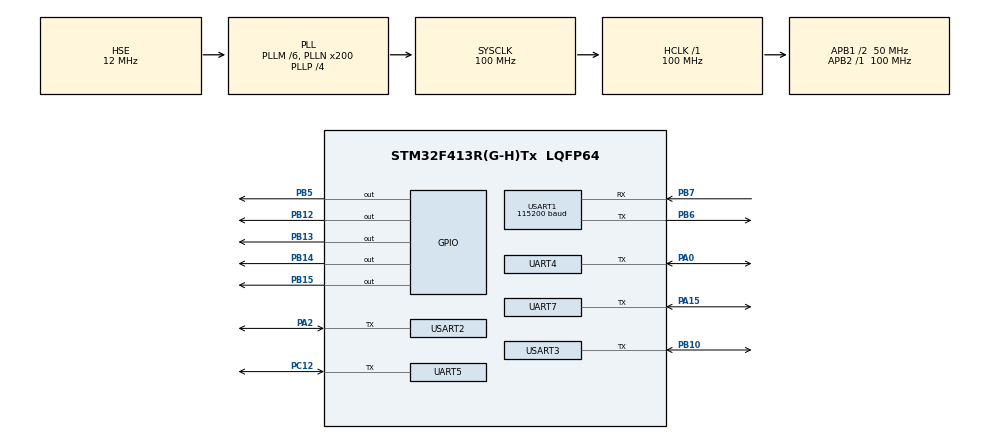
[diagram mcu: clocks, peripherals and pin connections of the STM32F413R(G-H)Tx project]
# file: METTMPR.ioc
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Mcu.Family=STM32F4
Mcu.Name=STM32F413R(G-H)Tx
Mcu.Package=LQFP64
NVIC.PriorityGroup=NVIC_PRIORITYGROUP_4
NVIC.TIM1_UP_TIM10_IRQn=true\:0\:0\:false\:false\:true\:true\:true\:true
NVIC.USART1_IRQn=true\:0\:0\:false\:false\:true\:true\:true\:true
PA0.Mode=Half_duplex(single_wire_mode)
PA0.Signal=UART4_TX
PA13.Mode=Serial_Wire
PA13.Signal=SYS_JTMS-SWDIO
PA14.Mode=Serial_Wire
PA14.Signal=SYS_JTCK-SWCLK
PA15.Mode=Half_duplex(single_wire_mode)
PA15.Signal=UART7_TX
PA2.Mode=Half_duplex(single_wire_mode)
PA2.Signal=USART2_TX
PB10.Mode=Half_duplex(single_wire_mode)
PB10.Signal=USART3_TX
PB12.PinState=GPIO_PIN_SET
PB12.Signal=GPIO_Output
PB13.PinState=GPIO_PIN_SET
PB13.Signal=GPIO_Output
PB14.PinState=GPIO_PIN_SET
PB14.Signal=GPIO_Output
PB15.PinState=GPIO_PIN_SET
PB15.Signal=GPIO_Output
PB5.PinState=GPIO_PIN_RESET
PB5.Signal=GPIO_Output
PB6.GPIO_Speed=GPIO_SPEED_FREQ_HIGH
PB6.Mode=Asynchronous
PB6.Signal=USART1_TX
PB7.GPIO_Speed=GPIO_SPEED_FREQ_HIGH
PB7.Mode=Asynchronous
PB7.Signal=USART1_RX
PC12.Mode=Half_duplex(single_wire_mode)
PC12.Signal=UART5_TX
PH0\ -\ OSC_IN.Mode=HSE-External-Oscillator
PH0\ -\ OSC_IN.Signal=RCC_OSC_IN
PH1\ -\ OSC_OUT.Mode=HSE-External-Oscillator
PH1\ -\ OSC_OUT.Signal=RCC_OSC_OUT
ProjectManager.HeapSize=0x400
ProjectManager.StackSize=0x800
ProjectManager.TargetToolchain=MDK-ARM V5.32
RCC.AHBFreq_Value=100000000
RCC.APB1CLKDivider=RCC_HCLK_DIV2
RCC.APB1Freq_Value=50000000
RCC.APB1TimFreq_Value=100000000
RCC.APB2Freq_Value=100000000
RCC.APB2TimFreq_Value=100000000
RCC.CortexFreq_Value=100000000
RCC.EnbaleCSS=true
RCC.HCLKFreq_Value=100000000
RCC.HSE_VALUE=12000000
RCC.PLLM=6
RCC.PLLN=200
RCC.PLLP=RCC_PLLP_DIV4
RCC.PLLQ=3
RCC.PLLSourceVirtual=RCC_PLLSOURCE_HSE
RCC.SYSCLKFreq_VALUE=100000000
RCC.SYSCLKSource=RCC_SYSCLKSOURCE_PLLCLK
RCC.USBFreq_Value=133333333.33333333
RCC.VCOOutputFreq_Value=400000000
TIM10.Period=1499
TIM10.Prescaler=49999
UART4.VirtualMode=Asynchronous
UART5.VirtualMode=Asynchronous
UART7.VirtualMode=Asynchronous
USART1.BaudRate=115200
USART1.VirtualMode=VM_ASYNC
USART2.VirtualMode=VM_ASYNC
USART3.VirtualMode=VM_ASYNC
VP_TIM10_VS_ClockSourceINT.Mode=Enable_Timer
board=custom

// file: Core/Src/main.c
/* USER CODE BEGIN Header */
/**
 ******************************************************************************
 * @file           : main.c
 * @brief          : Main program body
 ******************************************************************************
 * @attention
 *
 * <h2><center>&copy; Copyright (c) 2023 STMicroelectronics.
 * All rights reserved.</center></h2>
 *
 * This software component is licensed by ST under BSD 3-Clause license,
 * the "License"; You may not use this file except in compliance with the
 * License. You may obtain a copy of the License at:
 *                        opensource.org/licenses/BSD-3-Clause
 *
 ******************************************************************************
 */
/* USER CODE END Header */
#include "main.h"

/* USER CODE BEGIN Includes */
#include "ds18b20.h"
#include "ds18b20_init.h"
#include "onewire.h"
#include "string.h"
/* USER CODE END Includes */

TIM_HandleTypeDef htim10;

UART_HandleTypeDef huart4;
UART_HandleTypeDef huart5;
UART_HandleTypeDef huart7;
UART_HandleTypeDef huart1;
UART_HandleTypeDef huart2;
UART_HandleTypeDef huart3;

/* USER CODE BEGIN PV */
DS18B20 temperatureSensor[numbSensorsDS18B20] = {0};
DS18B20_Status errorDS18B20[numbSensorsDS18B20] = {0};

startByte_t startByte = {0};
uint8_t fullPacket[12] = {0xFD, 0x55, 0};
uint8_t receiveByte = {0};

uint8_t RxData[16] = {0};
int indx = 0;
uint8_t flagRxUART = 0;

flagsInterrupts_t flagsInterrupts = {0};
/* USER CODE END PV */

void SystemClock_Config(void);
static void MX_GPIO_Init(void);
static void MX_USART1_UART_Init(void);
static void MX_UART5_Init(void);
static void MX_UART7_Init(void);
static void MX_UART4_Init(void);
static void MX_USART2_UART_Init(void);
static void MX_USART3_UART_Init(void);
static void MX_TIM10_Init(void);

/* USER CODE BEGIN 0 */

void HAL_TIM_PeriodElapsedCallback(TIM_HandleTypeDef *htim)
{
  if (htim->Instance == TIM10) // check if the interrupt comes from TIM10 //750ms
  {
    // HAL_IWDG_Refresh(&hiwdg);
    HAL_TIM_Base_Stop_IT(&htim10);
    flagsInterrupts.TIM10_int = 1;
    __HAL_TIM_SET_COUNTER(&htim10, 0);
  }
}

void HAL_UARTEx_RxEventCallback(UART_HandleTypeDef *huart, uint16_t Size)
{

  uint8_t holeOp = 0;
  size_t counterTemp = 25000 * 2; // 300ms
  while (--counterTemp)
  {
    holeOp++;
  }

  indx = Size;
  if (huart->Instance == USART1) // check if the interrupt comes from
  {
    // if (memcmp(RxData, &fullPacket[0], Size))
    // {
    // }

    flagRxUART = 1;

    if (memcmp(RxData, &fullPacket[0], sizeof(fullPacket)))
    {
      flagsInterrupts.UART1_int = 1;
    }
  }
}

/* USER CODE END 0 */

int main(void)
{

  /* MCU Configuration--------------------------------------------------------*/

  /* Reset of all peripherals, Initializes the Flash interface and the Systick. */
  HAL_Init();

  /* Configure the system clock */
  SystemClock_Config();

  /* Initialize all configured peripherals */
  MX_GPIO_Init();
  MX_USART1_UART_Init();
  MX_UART5_Init();
  MX_UART7_Init();
  MX_UART4_Init();
  MX_USART2_UART_Init();
  MX_USART3_UART_Init();
  MX_TIM10_Init();
  /* USER CODE BEGIN 2 */

  // __HAL_UART_ENABLE_IT(&huart1, UART_IT_IDLE);

  __HAL_UART_CLEAR_IDLEFLAG(&huart1);
  HAL_UARTEx_ReceiveToIdle_IT(&huart1, RxData, sizeof(RxData));

  __HAL_TIM_CLEAR_FLAG(&htim10, TIM_SR_UIF);
  HAL_TIM_Base_Start_IT(&htim10);

        int8_t settings[3];
//      settings[0] = (uint8_t)125;
//      settings[1] = (uint8_t)-55;
      settings[0] = (uint8_t)0;
      settings[1] = (uint8_t)0;
      settings[2] = DS18B20_12_BITS_CONFIG;

   initDS18B20(&temperatureSensor[0], &errorDS18B20[0], numbSensorsDS18B20);
  // // send request to onewire sensor for measuring temperature
   requestToCalculationTemperature(&temperatureSensor[0], &errorDS18B20[0], numbSensorsDS18B20);
  /* USER CODE END 2 */

  /* Infinite loop */
  /* USER CODE BEGIN WHILE */
  while (1)
  {

    //    		while (1)
    //    		{

    //    		}

    if (flagsInterrupts.TIM10_int)
    {
      flagsInterrupts.TIM10_int = 0;
//			initDS18B20(&temperatureSensor[0], &errorDS18B20[0], numbSensorsDS18B20);
       receiveTemperature(&temperatureSensor[0], &errorDS18B20[0], numbSensorsDS18B20);
       // writing temperature to exit packet
       for (size_t i = 0; i < numbSensorsDS18B20; i++)
       {
         memcpy(&fullPacket[i * 2 + 2], &temperatureSensor[i].sourceTemperature, 2);
       }
       // send request to onewire sensor for measuring temperature
       requestToCalculationTemperature(&temperatureSensor[0], &errorDS18B20[0], numbSensorsDS18B20);

      //--debug

      HAL_TIM_Base_Start_IT(&htim10);
    }

    if (flagsInterrupts.UART1_int)
    {

      volatile uint8_t holeOp = 0;
      size_t counterTemp = 10000 * 15; // 15ms
      HAL_GPIO_WritePin(GPIOB, GPIO_PIN_5, GPIO_PIN_SET);
			      while (--counterTemp)
      {
        //        asm("NOP");
        holeOp << 1; // nop operation
      }
      HAL_UART_Transmit_IT(&huart1, &fullPacket[0], sizeof(fullPacket));
			HAL_Delay(10);
      HAL_GPIO_WritePin(GPIOB, GPIO_PIN_5, GPIO_PIN_RESET);
      flagsInterrupts.UART1_int = 0;
      __HAL_UART_CLEAR_IDLEFLAG(&huart1);
      HAL_UARTEx_ReceiveToIdle_IT(&huart1, RxData, sizeof(RxData));
    }

    // receiving from onewire sensor calculate temperature

    /* USER CODE END WHILE */

  }
}

void SystemClock_Config(void)
{
  RCC_OscInitTypeDef RCC_OscInitStruct = {0};
  RCC_ClkInitTypeDef RCC_ClkInitStruct = {0};

  /** Configure the main internal regulator output voltage
  */
  __HAL_RCC_PWR_CLK_ENABLE();
  __HAL_PWR_VOLTAGESCALING_CONFIG(PWR_REGULATOR_VOLTAGE_SCALE1);

  /** Initializes the RCC Oscillators according to the specified parameters
  * in the RCC_OscInitTypeDef structure.
  */
  RCC_OscInitStruct.OscillatorType = RCC_OSCILLATORTYPE_HSE;
  RCC_OscInitStruct.HSEState = RCC_HSE_ON;
  RCC_OscInitStruct.PLL.PLLState = RCC_PLL_ON;
  RCC_OscInitStruct.PLL.PLLSource = RCC_PLLSOURCE_HSE;
  RCC_OscInitStruct.PLL.PLLM = 6;
  RCC_OscInitStruct.PLL.PLLN = 200;
  RCC_OscInitStruct.PLL.PLLP = RCC_PLLP_DIV4;
  RCC_OscInitStruct.PLL.PLLQ = 3;
  RCC_OscInitStruct.PLL.PLLR = 2;
  if (HAL_RCC_OscConfig(&RCC_OscInitStruct) != HAL_OK)
  {
    Error_Handler();
  }

  /** Initializes the CPU, AHB and APB buses clocks
  */
  RCC_ClkInitStruct.ClockType = RCC_CLOCKTYPE_HCLK|RCC_CLOCKTYPE_SYSCLK
                              |RCC_CLOCKTYPE_PCLK1|RCC_CLOCKTYPE_PCLK2;
  RCC_ClkInitStruct.SYSCLKSource = RCC_SYSCLKSOURCE_PLLCLK;
  RCC_ClkInitStruct.AHBCLKDivider = RCC_SYSCLK_DIV1;
  RCC_ClkInitStruct.APB1CLKDivider = RCC_HCLK_DIV2;
  RCC_ClkInitStruct.APB2CLKDivider = RCC_HCLK_DIV1;

  if (HAL_RCC_ClockConfig(&RCC_ClkInitStruct, FLASH_LATENCY_3) != HAL_OK)
  {
    Error_Handler();
  }

  /** Enables the Clock Security System
  */
  HAL_RCC_EnableCSS();
}

static void MX_TIM10_Init(void)
{

  htim10.Instance = TIM10;
  htim10.Init.Prescaler = 49999;
  htim10.Init.CounterMode = TIM_COUNTERMODE_UP;
  htim10.Init.Period = 1499;
  htim10.Init.ClockDivision = TIM_CLOCKDIVISION_DIV1;
  htim10.Init.AutoReloadPreload = TIM_AUTORELOAD_PRELOAD_DISABLE;
  if (HAL_TIM_Base_Init(&htim10) != HAL_OK)
  {
    Error_Handler();
  }

}

static void MX_UART4_Init(void)
{

  huart4.Instance = UART4;
  huart4.Init.BaudRate = 115200;
  huart4.Init.WordLength = UART_WORDLENGTH_8B;
  huart4.Init.StopBits = UART_STOPBITS_1;
  huart4.Init.Parity = UART_PARITY_NONE;
  huart4.Init.Mode = UART_MODE_TX_RX;
  huart4.Init.HwFlowCtl = UART_HWCONTROL_NONE;
  huart4.Init.OverSampling = UART_OVERSAMPLING_16;
  if (HAL_HalfDuplex_Init(&huart4) != HAL_OK)
  {
    Error_Handler();
  }

}

static void MX_UART5_Init(void)
{

  huart5.Instance = UART5;
  huart5.Init.BaudRate = 115200;
  huart5.Init.WordLength = UART_WORDLENGTH_8B;
  huart5.Init.StopBits = UART_STOPBITS_1;
  huart5.Init.Parity = UART_PARITY_NONE;
  huart5.Init.Mode = UART_MODE_TX_RX;
  huart5.Init.HwFlowCtl = UART_HWCONTROL_NONE;
  huart5.Init.OverSampling = UART_OVERSAMPLING_16;
  if (HAL_HalfDuplex_Init(&huart5) != HAL_OK)
  {
    Error_Handler();
  }

}

static void MX_UART7_Init(void)
{

  huart7.Instance = UART7;
  huart7.Init.BaudRate = 115200;
  huart7.Init.WordLength = UART_WORDLENGTH_8B;
  huart7.Init.StopBits = UART_STOPBITS_1;
  huart7.Init.Parity = UART_PARITY_NONE;
  huart7.Init.Mode = UART_MODE_TX_RX;
  huart7.Init.HwFlowCtl = UART_HWCONTROL_NONE;
  huart7.Init.OverSampling = UART_OVERSAMPLING_16;
  if (HAL_HalfDuplex_Init(&huart7) != HAL_OK)
  {
    Error_Handler();
  }

}

static void MX_USART1_UART_Init(void)
{

  huart1.Instance = USART1;
  huart1.Init.BaudRate = 115200;
  huart1.Init.WordLength = UART_WORDLENGTH_8B;
  huart1.Init.StopBits = UART_STOPBITS_1;
  huart1.Init.Parity = UART_PARITY_NONE;
  huart1.Init.Mode = UART_MODE_TX_RX;
  huart1.Init.HwFlowCtl = UART_HWCONTROL_NONE;
  huart1.Init.OverSampling = UART_OVERSAMPLING_16;
  if (HAL_UART_Init(&huart1) != HAL_OK)
  {
    Error_Handler();
  }

}

static void MX_USART2_UART_Init(void)
{

  huart2.Instance = USART2;
  huart2.Init.BaudRate = 115200;
  huart2.Init.WordLength = UART_WORDLENGTH_8B;
  huart2.Init.StopBits = UART_STOPBITS_1;
  huart2.Init.Parity = UART_PARITY_NONE;
  huart2.Init.Mode = UART_MODE_TX_RX;
  huart2.Init.HwFlowCtl = UART_HWCONTROL_NONE;
  huart2.Init.OverSampling = UART_OVERSAMPLING_16;
  if (HAL_HalfDuplex_Init(&huart2) != HAL_OK)
  {
    Error_Handler();
  }

}

static void MX_USART3_UART_Init(void)
{

  huart3.Instance = USART3;
  huart3.Init.BaudRate = 115200;
  huart3.Init.WordLength = UART_WORDLENGTH_8B;
  huart3.Init.StopBits = UART_STOPBITS_1;
  huart3.Init.Parity = UART_PARITY_NONE;
  huart3.Init.Mode = UART_MODE_TX_RX;
  huart3.Init.HwFlowCtl = UART_HWCONTROL_NONE;
  huart3.Init.OverSampling = UART_OVERSAMPLING_16;
  if (HAL_HalfDuplex_Init(&huart3) != HAL_OK)
  {
    Error_Handler();
  }

}

static void MX_GPIO_Init(void)
{
  GPIO_InitTypeDef GPIO_InitStruct = {0};

  /* GPIO Ports Clock Enable */
  __HAL_RCC_GPIOH_CLK_ENABLE();
  __HAL_RCC_GPIOA_CLK_ENABLE();
  __HAL_RCC_GPIOB_CLK_ENABLE();
  __HAL_RCC_GPIOC_CLK_ENABLE();

  /*Configure GPIO pin Output Level */
  HAL_GPIO_WritePin(GPIOB, GPIO_PIN_12|GPIO_PIN_13|GPIO_PIN_14|GPIO_PIN_15, GPIO_PIN_SET);

  /*Configure GPIO pin Output Level */
  HAL_GPIO_WritePin(GPIOB, GPIO_PIN_5, GPIO_PIN_RESET);

  /*Configure GPIO pins : PB12 PB13 PB14 PB15
                           PB5 */
  GPIO_InitStruct.Pin = GPIO_PIN_12|GPIO_PIN_13|GPIO_PIN_14|GPIO_PIN_15
                          |GPIO_PIN_5;
  GPIO_InitStruct.Mode = GPIO_MODE_OUTPUT_PP;
  GPIO_InitStruct.Pull = GPIO_NOPULL;
  GPIO_InitStruct.Speed = GPIO_SPEED_FREQ_LOW;
  HAL_GPIO_Init(GPIOB, &GPIO_InitStruct);

}

/* USER CODE BEGIN 4 */
// void HAL_UART_RxCpltCallback(UART_HandleTypeDef *huart) {

//  if(huart == &huart1) {
//  HAL_UART_Receive_IT (&huart1, rData, 1);
//	DS18B20_Init(&temperatureSensor, &huart5);

//  DS18B20_InitializationCommand(&temperatureSensor);
//  DS18B20_ReadRom(&temperatureSensor);
//  DS18B20_ReadScratchpad(&temperatureSensor);

//  uint8_t settings[3];
//  settings[0] = temperatureSensor.temperatureLimitHigh;
//  settings[1] = temperatureSensor.temperatureLimitLow;
//  settings[2] = DS18B20_12_BITS_CONFIG;

//    DS18B20_InitializationCommand(&temperatureSensor);
//    DS18B20_SkipRom(&temperatureSensor);
//    DS18B20_WriteScratchpad(&temperatureSensor, settings);
//		DS18B20_InitializationCommand(&temperatureSensor);
//		DS18B20_SkipRom(&temperatureSensor);
//		DS18B20_ConvertT(&temperatureSensor, DS18B20_DATA);
//

//  }
//}
/* USER CODE END 4 */

void Error_Handler(void)
{
  __disable_irq();
  while (1)
  {
  }
}
